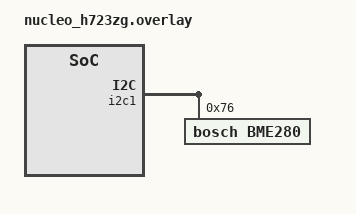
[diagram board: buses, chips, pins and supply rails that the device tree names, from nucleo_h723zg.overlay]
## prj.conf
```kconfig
# Enable network stack
CONFIG_NETWORKING=y
CONFIG_NET_LOG=y

# Enable IPv4
CONFIG_NET_IPV4=y

# Enable IPv6
CONFIG_NET_IPV6=n

# Enable TCP
CONFIG_NET_TCP=y

# Enable DHCP
CONFIG_NET_DHCPV4=y
CONFIG_NET_DHCPV4_OPTION_CALLBACKS=y
CONFIG_DNS_RESOLVER=y
CONFIG_INIT_STACKS=y

CONFIG_NET_MGMT=y
CONFIG_NET_MGMT_EVENT=y

# Enable Sockets (used by MQTT lib)
CONFIG_NET_SOCKETS=y
#CONFIG_NET_SOCKETS_SOCKOPT_TLS=y
CONFIG_NET_SHELL=y

# Enable MQTT
CONFIG_MQTT_LIB=y
#CONFIG_MQTT_LIB_TLS=y

# Enable Mbed TLS
#CONFIG_MBEDTLS=y
#CONFIG_MBEDTLS_BUILTIN=y
#CONFIG_MBEDTLS_ENABLE_HEAP=y
#CONFIG_MBEDTLS_HEAP_SIZE=60000
#CONFIG_MBEDTLS_SSL_MAX_CONTENT_LEN=16384
#CONFIG_MBEDTLS_PEM_CERTIFICATE_FORMAT=y
#CONFIG_MBEDTLS_SERVER_NAME_INDICATION=y

# Enable JSON
CONFIG_JSON_LIBRARY=y

# Enable net conn manager
CONFIG_NET_CONNECTION_MANAGER=y

# Enable device hostname
CONFIG_NET_HOSTNAME_ENABLE=y

# Enable Posix API functionality
CONFIG_POSIX_API=y

# Enable sensor API
CONFIG_SENSOR=y

# Enable LED API
CONFIG_LED=y

# Main stack size
CONFIG_MAIN_STACK_SIZE=2048

# System work queue stack size
CONFIG_SYSTEM_WORKQUEUE_STACK_SIZE=2048

# Increase Rx net buffers
CONFIG_NET_BUF_RX_COUNT=100

#BME280
CONFIG_SENSOR=y
CONFIG_SENSOR_ASYNC_API=y
CONFIG_SHELL=y
CONFIG_I2C_SHELL=y
```

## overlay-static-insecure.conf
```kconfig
# Config to disable TLS and DHCPv4, allowing insecure MQTT and a static IP address.
# This allows quick testing of the application without need for a DHCP server or secure MQTT broker set up.
# Only recommended for quick sampling/testing.
# Usage: west build -b <board> -- -DEXTRA_CONF_FILE=overlay-static-insecure.conf

# Disable MQTT with TLS
CONFIG_MQTT_LIB_TLS=n

# Disable DHCP
CONFIG_NET_DHCPV4=y

# Insecure MQTT uses port 1883
CONFIG_NET_SAMPLE_MQTT_BROKER_PORT="1883"

# Static IP address config
CONFIG_NET_CONFIG_SETTINGS=y
CONFIG_NET_CONFIG_MY_IPV4_ADDR="10.66.57.96"
CONFIG_NET_SAMPLE_MQTT_BROKER_HOSTNAME="10.66.57.66"
```

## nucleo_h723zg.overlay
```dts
&i2c1 {
	bme280@77 {
		compatible = "bosch,bme280";
		reg = <0x76>;
		status = "okay";
	};
};
```

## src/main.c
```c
/*
 * Copyright (c) 2024 Analog Devices, Inc.
 *
 * SPDX-License-Identifier: Apache-2.0
 */

#include <zephyr/logging/log.h>
LOG_MODULE_REGISTER(app_main, LOG_LEVEL_DBG);

#include <zephyr/kernel.h>
#include <zephyr/net/mqtt.h>
#include <zephyr/net/net_if.h>
#include <zephyr/net/net_mgmt.h>
#include <zephyr/net/conn_mgr_monitor.h>
#include <zephyr/net/socket.h>

#include "mqtt_client.h"
#include "device.h"

#define NET_L4_EVENT_MASK (NET_EVENT_L4_CONNECTED | NET_EVENT_L4_DISCONNECTED)

/* MQTT client struct */
static struct mqtt_client client_ctx;

/* MQTT publish work item */
struct k_work_delayable mqtt_publish_work;

static struct net_mgmt_event_callback net_l4_mgmt_cb;

/* Network connection semaphore */
K_SEM_DEFINE(net_conn_sem, 0, 1);

static void net_l4_evt_handler(struct net_mgmt_event_callback *cb,
				uint64_t mgmt_event, struct net_if *iface)
{
	switch (mgmt_event) {
	case NET_EVENT_L4_CONNECTED:
		k_sem_give(&net_conn_sem);
		LOG_INF("Network connectivity up!");
		break;
	case NET_EVENT_L4_DISCONNECTED:
		LOG_INF("Network connectivity down!");
		break;
	default:
		break;
	}
}

/** Print the device's MAC address to console */
void log_mac_addr(struct net_if *iface)
{
	struct net_linkaddr *mac;

	mac = net_if_get_link_addr(iface);

	LOG_INF("MAC Address: %02X:%02X:%02X:%02X:%02X:%02X",
		mac->addr[0], mac->addr[1], mac->addr[2],
		mac->addr[3], mac->addr[4], mac->addr[5]);
}

/** The system work queue is used to handle periodic MQTT publishing.
 *  Work queuing begins when the MQTT connection is established.
 *  Use CONFIG_NET_SAMPLE_MQTT_PUBLISH_INTERVAL to set the publish frequency.
 */

static void publish_work_handler(struct k_work *work)
{
	int rc;

	if (mqtt_connected) {
		rc = app_mqtt_publish(&client_ctx);
		if (rc != 0) {
			LOG_INF("MQTT Publish failed [%d]", rc);
		}
		k_work_reschedule(&mqtt_publish_work,
					K_SECONDS(CONFIG_NET_SAMPLE_MQTT_PUBLISH_INTERVAL));
	} else {
		k_work_cancel_delayable(&mqtt_publish_work);
	}
}

int main(void)
{
	int rc;
	struct net_if *iface;

	devices_ready();

	iface = net_if_get_default();
	if (iface == NULL) {
		LOG_ERR("No network interface configured");
		return -ENETDOWN;
	}

	log_mac_addr(iface);

	/* Register callbacks for L4 events */
	net_mgmt_init_event_callback(&net_l4_mgmt_cb, &net_l4_evt_handler, NET_L4_EVENT_MASK);
	net_mgmt_add_event_callback(&net_l4_mgmt_cb);

	LOG_INF("Bringing up network..");

#if defined(CONFIG_NET_DHCPV4)
	net_dhcpv4_start(iface);
#else
	/* If using static IP, L4 Connect callback will happen,
	 * before conn mgr is initialised, so resend events here
	 * to check for connectivity
	 */
	conn_mgr_mon_resend_status();
#endif

	/* Wait for network to come up */
	while (k_sem_take(&net_conn_sem, K_MSEC(MSECS_NET_POLL_TIMEOUT)) != 0) {
		LOG_INF("Waiting for network connection..");
	}

	rc = app_mqtt_init(&client_ctx);
	if (rc != 0) {
		LOG_ERR("MQTT Init failed [%d]", rc);
		return rc;
	}

	/* Initialise MQTT publish work item */
	k_work_init_delayable(&mqtt_publish_work, publish_work_handler);

	/* Thread main loop */
	while (1) {
		/* Block until MQTT connection is up */
		app_mqtt_connect(&client_ctx);

		/* We are now connected, begin queueing periodic MQTT publishes */
		k_work_reschedule(&mqtt_publish_work,
					K_SECONDS(CONFIG_NET_SAMPLE_MQTT_PUBLISH_INTERVAL));

		/* Handle MQTT inputs and connection */
		app_mqtt_run(&client_ctx);
	}

	return rc;
}
```

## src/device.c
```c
/*
 * Copyright (c) 2024 Analog Devices, Inc.
 *
 * SPDX-License-Identifier: Apache-2.0
 */

#include <zephyr/logging/log.h>
LOG_MODULE_REGISTER(app_device, LOG_LEVEL_DBG);

#include <zephyr/kernel.h>
#include <zephyr/drivers/sensor.h>
#include <zephyr/drivers/sensor_data_types.h>
#include <zephyr/drivers/led.h>
#include <zephyr/random/random.h>

#include "device.h"

#define SENSOR_CHAN     SENSOR_CHAN_AMBIENT_TEMP
#define SENSOR_UNIT     "Celsius"

/* Devices */
//static const struct device *sensor = DEVICE_DT_GET_OR_NULL(DT_ALIAS(ambient_temp0));
static const struct device *const dev = DEVICE_DT_GET_ANY(bosch_bme280);
static const struct device *leds = DEVICE_DT_GET_OR_NULL(DT_INST(0, gpio_leds));

SENSOR_DT_READ_IODEV(iodev, DT_COMPAT_GET_ANY_STATUS_OKAY(bosch_bme280),
		{SENSOR_CHAN_AMBIENT_TEMP, 0},
		{SENSOR_CHAN_HUMIDITY, 0},
		{SENSOR_CHAN_PRESS, 0});

RTIO_DEFINE(ctx, 1, 1);


/* Command handlers */
static void led_on_handler(void)
{
	device_write_led(LED_USER, LED_ON);
}

static void led_off_handler(void)
{
	device_write_led(LED_USER, LED_OFF);
}

/* Supported device commands */
struct device_cmd device_commands[] = {
	{"led_on", led_on_handler},
	{"led_off", led_off_handler}
};

const size_t num_device_commands = ARRAY_SIZE(device_commands);

/* Command dispatcher */
void device_command_handler(uint8_t *command)
{
	for (int i = 0; i < num_device_commands; i++) {
		if (strcmp(command, device_commands[i].command) == 0) {
			LOG_INF("Executing device command: %s", device_commands[i].command);
			return device_commands[i].handler();
		}
	}
	LOG_ERR("Unknown command: %s", command);
}

int device_read_sensor(int *out)
{
	uint8_t buf[128];

	int rc = sensor_read(&iodev, &ctx, buf, 128);

	if (rc != 0) {
		printk("%s: sensor_read() failed: %d\n", dev->name, rc);
		return rc;
	}

	const struct sensor_decoder_api *decoder;

	rc = sensor_get_decoder(dev, &decoder);

	if (rc != 0) {
		printk("%s: sensor_get_decode() failed: %d\n", dev->name, rc);
		return rc;
	}

	uint32_t temp_fit = 0;
	struct sensor_q31_data temp_data = {0};

	decoder->decode(buf,
		(struct sensor_chan_spec) {SENSOR_CHAN_AMBIENT_TEMP, 0},
		&temp_fit, 1, &temp_data);

	uint32_t press_fit = 0;
	struct sensor_q31_data press_data = {0};

	decoder->decode(buf,
			(struct sensor_chan_spec) {SENSOR_CHAN_PRESS, 0},
			&press_fit, 1, &press_data);

	uint32_t hum_fit = 0;
	struct sensor_q31_data hum_data = {0};

	decoder->decode(buf,
			(struct sensor_chan_spec) {SENSOR_CHAN_HUMIDITY, 0},
			&hum_fit, 1, &hum_data);

	/*printk("temp: %s %d.%d; press: %s %d.%d; humidity: %s %d.%d\n",
		PRIq_arg(temp_data.readings[0].temperature, 6, temp_data.shift),
		PRIq_arg(press_data.readings[0].pressure, 6, press_data.shift),
		PRIq_arg(hum_data.readings[0].humidity, 6, hum_data.shift));
	printf("temp: %d; press:  %d; press:  %d\n",
	       temp_data.readings[0].temperature,
	       press_data.readings[0].pressure,
	       hum_data.readings[0].humidity);

	sample->unit = SENSOR_UNIT;
	sample->value = temp_data.shift; // sensor_value_to_double(&sensor_val);
	*/
	out[0] = temp_data.readings[0].temperature;
	out[1] = temp_data.shift;
	out[2] = press_data.readings[0].pressure;
	out[3] = press_data.shift;
	out[4] = hum_data.readings[0].humidity;
	out[5] = hum_data.shift;
	return rc;
}

int device_write_led(enum led_id led_idx, enum led_state state)
{
	int rc;

	switch (state) {
	case LED_OFF:
		if (leds == NULL) {
			LOG_INF("LED %d OFF", led_idx);
			break;
		}
		led_off(leds, led_idx);
		break;
	case LED_ON:
		if (leds == NULL) {
			LOG_INF("LED %d ON", led_idx);
			break;
		}
		led_on(leds, led_idx);
		break;
	default:
		LOG_ERR("Invalid LED state setting");
		rc = -EINVAL;
		break;
	}

	return rc;
}

bool devices_ready(void)
{
	bool rc = true;

	/* Check readiness only if a real sensor device is present */
	if (dev != NULL) {
		if (!device_is_ready(dev)) {
			LOG_ERR("Device %s is not ready", dev->name);
			rc = false;
		} else {
			LOG_INF("Device %s is ready", dev->name);
		}
	}

	if (leds != NULL) {
		if (!device_is_ready(leds)) {
			LOG_ERR("Device %s is not ready", leds->name);
			rc = false;
		} else {
			LOG_INF("Device %s is ready", leds->name);
		}
	}

	return rc;
}
```

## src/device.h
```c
/*
 * Copyright (c) 2024 Analog Devices, Inc.
 *
 * SPDX-License-Identifier: Apache-2.0
 */

#ifndef __DEVICE_H__
#define __DEVICE_H__

/** @brief Sensor sample structure */
struct sensor_sample {
	const char *unit;
	int value;
};

/** @brief Available board LEDs */
enum led_id {
	LED_NET, /* Network status LED*/
	LED_USER /* User LED */
};

/** @brief LED states */
enum led_state {
	LED_OFF,
	LED_ON
};

/** @brief Device command consisting of a command string
 *         and associated handler function pointer
 */
struct device_cmd {
	const char *command;
	void (*handler)();
};

/**
 *  @brief Check if all devices are ready
 */
bool devices_ready(void);

/**
 *  @brief Read sample from the sensor
 */
int device_read_sensor(int *out);

/**
 *  @brief Write to a board LED
 */
int device_write_led(enum led_id led_idx, enum led_state state);

/**
 *  @brief Handler function for commands received over MQTT
 */
void device_command_handler(uint8_t *command);

#endif /* __DEVICE_H__ */
```

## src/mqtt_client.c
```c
/*
 * Copyright (c) 2024 Analog Devices, Inc.
 *
 * SPDX-License-Identifier: Apache-2.0
 */

#include <zephyr/logging/log.h>
LOG_MODULE_REGISTER(app_mqtt, LOG_LEVEL_DBG);

#include <zephyr/data/json.h>
#include <zephyr/kernel.h>
#include <zephyr/net/mqtt.h>
#include <zephyr/posix/arpa/inet.h>
#include <zephyr/posix/netdb.h>
#include <zephyr/posix/poll.h>
#include <zephyr/posix/sys/socket.h>
#include <zephyr/random/random.h>
#include <zephyr/drivers/sensor_data_types.h>
#include <stdio.h>

#include "mqtt_client.h"
#include "device.h"

#define CONFIG_NET_SAMPLE_MQTT_BROKER_HOSTN "10.66.57.66"
#define CONFIG_NET_SAMPLE_MQTT_BROKER_P     "1883"

/* Buffers for MQTT client */
//static uint8_t rx_buffer[CONFIG_NET_SAMPLE_MQTT_PAYLOAD_SIZE];
//static uint8_t tx_buffer[CONFIG_NET_SAMPLE_MQTT_PAYLOAD_SIZE];
static uint8_t rx_buffer[256];
static uint8_t tx_buffer[256];

/* MQTT payload buffer */
//static uint8_t payload_buf[CONFIG_NET_SAMPLE_MQTT_PAYLOAD_SIZE];
static uint8_t payload_buf[256];

/* MQTT broker details */
static struct sockaddr_storage broker;

/* Socket descriptor */
static struct pollfd fds[1];
static int nfds;

/* JSON payload format */
static const struct json_obj_descr sensor_sample_descr[] = {
	JSON_OBJ_DESCR_PRIM(struct sensor_sample, unit, JSON_TOK_STRING),
	JSON_OBJ_DESCR_PRIM(struct sensor_sample, value, JSON_TOK_NUMBER),
};

/* MQTT connectivity status flag */
bool mqtt_connected;

/* MQTT client ID buffer */
static uint8_t client_id[50];

#if defined(CONFIG_MQTT_LIB_TLS)
#include "tls_config/cert.h"

/* This should match the CN field in the server's CA cert */
#define TLS_SNI_HOSTNAME	CONFIG_NET_SAMPLE_MQTT_BROKER_HOSTNAME
#define APP_CA_CERT_TAG		1

static const sec_tag_t m_sec_tags[] = {
	APP_CA_CERT_TAG,
};

/** Register CA certificate for TLS */
static int tls_init(void)
{
	int rc;

	rc = tls_credential_add(APP_CA_CERT_TAG, TLS_CREDENTIAL_CA_CERTIFICATE,
				 ca_certificate, sizeof(ca_certificate));
	if (rc < 0) {
		LOG_ERR("Failed to register public certificate: %d", rc);
		return rc;
	}

	return rc;
}
#endif

static void prepare_fds(struct mqtt_client *client)
{
	if (client->transport.type == MQTT_TRANSPORT_NON_SECURE) {
		fds[0].fd = client->transport.tcp.sock;
	}
#if defined(CONFIG_MQTT_LIB_TLS)
	else if (client->transport.type == MQTT_TRANSPORT_SECURE) {
		fds[0].fd = client->transport.tls.sock;
	}
#endif

	fds[0].events = POLLIN;
	nfds = 1;
}

static void clear_fds(void)
{
	nfds = 0;
}

/** Initialise the MQTT client ID as the board name with random hex postfix */
static void init_mqtt_client_id(void)
{
	snprintk(client_id, sizeof(client_id), CONFIG_BOARD"_%x", (uint8_t)sys_rand32_get());
}

static inline void on_mqtt_connect(void)
{
	mqtt_connected = true;
	device_write_led(LED_NET, LED_ON);
	LOG_INF("Connected to MQTT broker!");
	LOG_INF("Hostname: %s", CONFIG_NET_SAMPLE_MQTT_BROKER_HOSTNAME);
	LOG_INF("Client ID: %s", client_id);
	LOG_INF("Port: %s", CONFIG_NET_SAMPLE_MQTT_BROKER_PORT);
	LOG_INF("TLS: %s",
		IS_ENABLED(CONFIG_MQTT_LIB_TLS) ? "Enabled" : "Disabled");
}

static inline void on_mqtt_disconnect(void)
{
	mqtt_connected = false;
	clear_fds();
	device_write_led(LED_NET, LED_OFF);
	LOG_INF("Disconnected from MQTT broker");
}

/** Called when an MQTT payload is received.
 *  Reads the payload and calls the commands
 *  handler if a payloads is received on the
 *  command topic
 */
static void on_mqtt_publish(struct mqtt_client *const client, const struct mqtt_evt *evt)
{
	int rc;
	uint8_t payload[CONFIG_NET_SAMPLE_MQTT_PAYLOAD_SIZE];

	rc = mqtt_read_publish_payload(client, payload,
					CONFIG_NET_SAMPLE_MQTT_PAYLOAD_SIZE);
	if (rc < 0) {
		LOG_ERR("Failed to read received MQTT payload [%d]", rc);
		return;
	}
	/* Place null terminator at end of payload buffer */
	payload[rc] = '\0';

	LOG_INF("MQTT payload received!");
	LOG_INF("topic: '%s', payload: %s",
		evt->param.publish.message.topic.topic.utf8, payload);

	/* If the topic is a command, call the command handler  */
	if (strcmp(evt->param.publish.message.topic.topic.utf8,
			CONFIG_NET_SAMPLE_MQTT_SUB_TOPIC_CMD) == 0) {
		device_command_handler(payload);
	}
}

/** Handler for asynchronous MQTT events */
static void mqtt_event_handler(struct mqtt_client *const client, const struct mqtt_evt *evt)
{
	switch (evt->type) {
	case MQTT_EVT_CONNACK:
		if (evt->result != 0) {
			LOG_ERR("MQTT Event Connect failed [%d]", evt->result);
			break;
		}
		on_mqtt_connect();
		break;

	case MQTT_EVT_DISCONNECT:
		on_mqtt_disconnect();
		break;

	case MQTT_EVT_PINGRESP:
		LOG_INF("PINGRESP packet");
		break;

	case MQTT_EVT_PUBACK:
		if (evt->result != 0) {
			LOG_ERR("MQTT PUBACK error [%d]", evt->result);
			break;
		}

		LOG_INF("PUBACK packet ID: %u", evt->param.puback.message_id);
		break;

	case MQTT_EVT_PUBREC:
		if (evt->result != 0) {
			LOG_ERR("MQTT PUBREC error [%d]", evt->result);
			break;
		}

		LOG_INF("PUBREC packet ID: %u", evt->param.pubrec.message_id);

		const struct mqtt_pubrel_param rel_param = {
			.message_id = evt->param.pubrec.message_id
		};

		mqtt_publish_qos2_release(client, &rel_param);
		break;

	case MQTT_EVT_PUBREL:
		if (evt->result != 0) {
			LOG_ERR("MQTT PUBREL error [%d]", evt->result);
			break;
		}

		LOG_INF("PUBREL packet ID: %u", evt->param.pubrel.message_id);

		const struct mqtt_pubcomp_param rec_param = {
			.message_id = evt->param.pubrel.message_id
		};

		mqtt_publish_qos2_complete(client, &rec_param);
		break;

	case MQTT_EVT_PUBCOMP:
		if (evt->result != 0) {
			LOG_ERR("MQTT PUBCOMP error %d", evt->result);
			break;
		}

		LOG_INF("PUBCOMP packet ID: %u", evt->param.pubcomp.message_id);
		break;

	case MQTT_EVT_SUBACK:
		if (evt->result == MQTT_SUBACK_FAILURE) {
			LOG_ERR("MQTT SUBACK error [%d]", evt->result);
			break;
		}

		LOG_INF("SUBACK packet ID: %d", evt->param.suback.message_id);
		break;

	case MQTT_EVT_PUBLISH:
		const struct mqtt_publish_param *p = &evt->param.publish;

		if (p->message.topic.qos == MQTT_QOS_1_AT_LEAST_ONCE) {
			const struct mqtt_puback_param ack_param = {
				.message_id = p->message_id
			};
			mqtt_publish_qos1_ack(client, &ack_param);
		} else if (p->message.topic.qos == MQTT_QOS_2_EXACTLY_ONCE) {
			const struct mqtt_pubrec_param rec_param = {
				.message_id = p->message_id
			};
			mqtt_publish_qos2_receive(client, &rec_param);
		}

		on_mqtt_publish(client, evt);

	default:
		break;
	}
}

/** Poll the MQTT socket for received data */
static int poll_mqtt_socket(struct mqtt_client *client, int timeout)
{
	int rc;

	prepare_fds(client);

	if (nfds <= 0) {
		return -EINVAL;
	}

	rc = poll(fds, nfds, timeout);
	if (rc < 0) {
		LOG_ERR("Socket poll error [%d]", rc);
	}

	return rc;
}

/** Retrieves a sensor sample and encodes it in JSON format */
static int get_mqtt_payload(struct mqtt_binstr *payload)
{
	int rc;
	//struct sensor_sample sample;
	int vals[6];

	rc = device_read_sensor(vals);
	if (rc != 0) {
		LOG_ERR("Failed to get sensor sample [%d]", rc);
		return rc;
	}

	/*rc = json_obj_encode_buf(sensor_sample_descr, ARRAY_SIZE(sensor_sample_descr),
					&sample, payload_buf, CONFIG_NET_SAMPLE_MQTT_PAYLOAD_SIZE);*/
	sprintf((char*) payload_buf,"{\"temp\":{\"unit\":\"Celsius\", \"value\":%s%d.%d},\"press\":{\"unit\":\"Bar\",\"value\":%s%d.%d},\"humidity\":{\"unit\":\"\%\",\"value\":%s%d.%d}}",
		PRIq_arg(vals[0], 6,vals[1]),
		PRIq_arg(vals[2], 6,vals[3]),
		PRIq_arg(vals[4], 6,vals[5]));
	printf("payload = %s",payload_buf);
	/*if (rc != 0) {
		LOG_ERR("Failed to encode JSON object [%d]", rc);
		return rc;*/

	payload->data = payload_buf;
	payload->len = strlen(payload->data);

	return rc;
}

int app_mqtt_publish(struct mqtt_client *client)
{
	int rc;
	struct mqtt_publish_param param;
	struct mqtt_binstr payload;
	static uint16_t msg_id = 1;
	struct mqtt_topic topic = {
		.topic = {
			.utf8 = CONFIG_NET_SAMPLE_MQTT_PUB_TOPIC,
			.size = strlen(topic.topic.utf8)
		},
		.qos = IS_ENABLED(CONFIG_NET_SAMPLE_MQTT_QOS_0_AT_MOST_ONCE) ? 0 :
			(IS_ENABLED(CONFIG_NET_SAMPLE_MQTT_QOS_1_AT_LEAST_ONCE) ? 1 : 2)
	};

	rc = get_mqtt_payload(&payload);
	if (rc != 0) {
		LOG_ERR("Failed to get MQTT payload [%d]", rc);
	}

	param.message.topic = topic;
	param.message.payload = payload;
	param.message_id = msg_id++;
	param.dup_flag = 0;
	param.retain_flag = 0;

	rc = mqtt_publish(client, &param);
	if (rc != 0) {
		LOG_ERR("MQTT Publish failed [%d]", rc);
	}

	LOG_INF("Published to topic '%s', QoS %d",
			param.message.topic.topic.utf8,
			param.message.topic.qos);

	return rc;
}

int app_mqtt_subscribe(struct mqtt_client *client)
{
	int rc;
	struct mqtt_topic sub_topics[] = {
		{
			.topic = {
				.utf8 = CONFIG_NET_SAMPLE_MQTT_SUB_TOPIC_CMD,
				.size = strlen(sub_topics->topic.utf8)
			},
			.qos = IS_ENABLED(CONFIG_NET_SAMPLE_MQTT_QOS_0_AT_MOST_ONCE) ? 0 :
				(IS_ENABLED(CONFIG_NET_SAMPLE_MQTT_QOS_1_AT_LEAST_ONCE) ? 1 : 2)
		}
	};
	const struct mqtt_subscription_list sub_list = {
		.list = sub_topics,
		.list_count = ARRAY_SIZE(sub_topics),
		.message_id = 5841u
	};

	LOG_INF("Subscribing to %d topic(s)", sub_list.list_count);

	rc = mqtt_subscribe(client, &sub_list);
	if (rc != 0) {
		LOG_ERR("MQTT Subscribe failed [%d]", rc);
	}

	return rc;
}

/** Process incoming MQTT data and keep the connection alive*/
int app_mqtt_process(struct mqtt_client *client)
{
	int rc;

	rc = poll_mqtt_socket(client, mqtt_keepalive_time_left(client));
	if (rc != 0) {
		if (fds[0].revents & POLLIN) {
			/* MQTT data received */
			rc = mqtt_input(client);
			if (rc != 0) {
				LOG_ERR("MQTT Input failed [%d]", rc);
				return rc;
			}
			/* Socket error */
			if (fds[0].revents & (POLLHUP | POLLERR)) {
				LOG_ERR("MQTT socket closed / error");
				return -ENOTCONN;
			}
		}
	} else {
		/* Socket poll timed out, time to call mqtt_live() */
		rc = mqtt_live(client);
		if (rc != 0) {
			LOG_ERR("MQTT Live failed [%d]", rc);
			return rc;
		}
	}

	return 0;
}

void app_mqtt_run(struct mqtt_client *client)
{
	int rc;

	/* Subscribe to MQTT topics */
	app_mqtt_subscribe(client);

	/* Thread will primarily remain in this loop */
	while (mqtt_connected) {
		rc = app_mqtt_process(client);
		if (rc != 0) {
			break;
		}
	}
	/* Gracefully close connection */
	mqtt_disconnect(client, NULL);
}

void app_mqtt_connect(struct mqtt_client *client)
{
	int rc = 0;

	mqtt_connected = false;

	/* Block until MQTT CONNACK event callback occurs */
	while (!mqtt_connected) {
		rc = mqtt_connect(client);
		if (rc != 0) {
			LOG_ERR("MQTT Connect failed [%d]", rc);
			k_msleep(MSECS_WAIT_RECONNECT);
			continue;
		}

		/* Poll MQTT socket for response */
		rc = poll_mqtt_socket(client, MSECS_NET_POLL_TIMEOUT);
		if (rc > 0) {
			mqtt_input(client);
		}

		if (!mqtt_connected) {
			mqtt_abort(client);
		}
	}
}

int app_mqtt_init(struct mqtt_client *client)
{
	int rc;
	uint8_t broker_ip[NET_IPV4_ADDR_LEN];
	struct sockaddr_in *broker4;
	struct addrinfo *result;
	const struct addrinfo hints = {
		.ai_family = AF_INET,
		.ai_socktype = SOCK_STREAM
	};

	/* Resolve IP address of MQTT broker */
	rc = getaddrinfo(CONFIG_NET_SAMPLE_MQTT_BROKER_HOSTN,
				CONFIG_NET_SAMPLE_MQTT_BROKER_P, &hints, &result);
	if (rc != 0) {
		LOG_ERR("Failed to resolve broker hostname [%s]", gai_strerror(rc));
		return -EIO;
	}
	if (result == NULL) {
		LOG_ERR("Broker address not found");
		return -ENOENT;
	}

	broker4 = (struct sockaddr_in *)&broker;
	broker4->sin_addr.s_addr = ((struct sockaddr_in *)result->ai_addr)->sin_addr.s_addr;
	broker4->sin_family = AF_INET;
	broker4->sin_port = ((struct sockaddr_in *)result->ai_addr)->sin_port;
	freeaddrinfo(result);

	/* Log resolved IP address */
	inet_ntop(AF_INET, &broker4->sin_addr.s_addr, broker_ip, sizeof(broker_ip));
	LOG_INF("Connecting to MQTT broker @ %s", broker_ip);

	/* MQTT client configuration */
	init_mqtt_client_id();
	mqtt_client_init(client);
	client->broker = &broker;
	client->evt_cb = mqtt_event_handler;
	client->client_id.utf8 = client_id;
	client->client_id.size = strlen(client->client_id.utf8);
	client->password = NULL;
	client->user_name = NULL;
	client->protocol_version = MQTT_VERSION_3_1_1;

	/* MQTT buffers configuration */
	client->rx_buf = rx_buffer;
	client->rx_buf_size = sizeof(rx_buffer);
	client->tx_buf = tx_buffer;
	client->tx_buf_size = sizeof(tx_buffer);

	/* MQTT transport configuration */
#if defined(CONFIG_MQTT_LIB_TLS)
	struct mqtt_sec_config *tls_config;

	client->transport.type = MQTT_TRANSPORT_SECURE;

	rc = tls_init();
	if (rc != 0) {
		LOG_ERR("TLS init error");
		return rc;
	}

	tls_config = &client->transport.tls.config;
	tls_config->peer_verify = TLS_PEER_VERIFY_REQUIRED;
	tls_config->cipher_list = NULL;
	tls_config->sec_tag_list = m_sec_tags;
	tls_config->sec_tag_count = ARRAY_SIZE(m_sec_tags);
#if defined(CONFIG_MBEDTLS_SERVER_NAME_INDICATION)
	tls_config->hostname = TLS_SNI_HOSTNAME;
#else
	tls_config->hostname = NULL;
#endif /* CONFIG_MBEDTLS_SERVER_NAME_INDICATION */
#endif /* CONFIG_MQTT_LIB_TLS */

	return rc;
}
```
